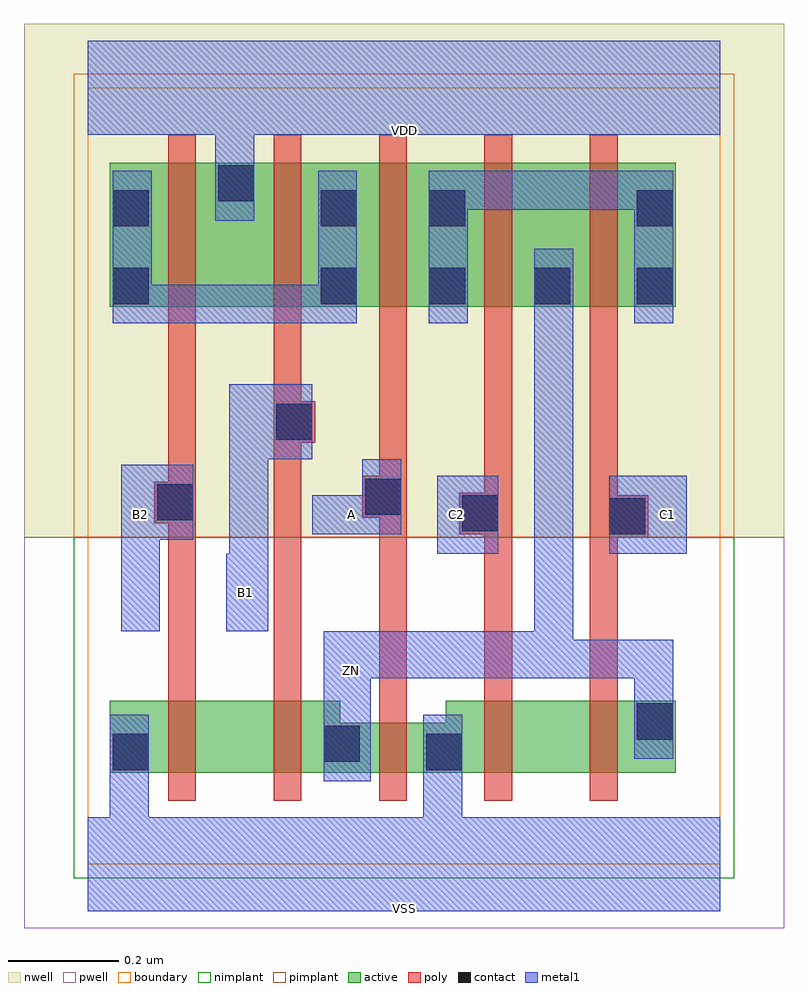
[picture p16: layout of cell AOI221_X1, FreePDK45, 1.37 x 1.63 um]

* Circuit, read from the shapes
.subckt AOI221_X1 A B1 B2 C1 C2 VDD VSS ZN
M1 n1 B2 VSS VSUBS nfet w=0.13u l=0.05u
M2 ZN B1 n1 VSUBS nfet w=0.13u l=0.05u
M3 VSS A ZN VSUBS nfet w=0.09u l=0.05u
M4 n2 C2 VSS VSUBS nfet w=0.13u l=0.05u
M5 ZN C1 n2 VSUBS nfet w=0.13u l=0.05u
M6 VDD B2 n3 n4 pfet w=0.26u l=0.05u
M7 n3 B1 VDD n4 pfet w=0.26u l=0.05u
M8 n5 A n3 n4 pfet w=0.26u l=0.05u
M9 ZN C2 n5 n4 pfet w=0.26u l=0.05u
M10 n5 C1 ZN n4 pfet w=0.26u l=0.05u
.ends

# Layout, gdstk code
import gdstk
lib = gdstk.Library(unit=1e-6, precision=1e-10)
def R(c, l, rs):  # rectangles x0, y0, x1, y1
    for r in rs: c.add(gdstk.rectangle(r[:2], r[2:], *l))
def P(c, l, *ps):  # polygons
    for p in ps: c.add(gdstk.Polygon(p, *l))
active = (1, 0)
pwell = (2, 0)
nwell = (3, 0)
nimplant = (4, 0)
pimplant = (5, 0)
poly = (9, 0)
contact = (10, 0)
metal1 = (11, 0)
boundary = (235, 0)

aoi221_x1 = lib.new_cell('AOI221_X1')
R(aoi221_x1, active, [(0.04,1.005,1.06,1.265)])
P(aoi221_x1, active, [(0.04,0.165),(1.06,0.165),(1.06,0.295),(0.645,0.295),(0.645,0.255),(0.455,0.255),(0.455,0.295),(0.04,0.295)])
R(aoi221_x1, pwell, [(-0.115,-0.115,1.255,0.59)])
R(aoi221_x1, nwell, [(-0.115,0.59,1.255,1.515)])
R(aoi221_x1, nimplant, [(-0.025,-0.025,1.165,0.59)])
R(aoi221_x1, pimplant, [(-0.025,0.59,1.165,1.425)])
P(aoi221_x1, poly, [(0.12,0.615),(0.145,0.615),(0.145,0.115),(0.195,0.115),(0.195,1.315),(0.145,1.315),(0.145,0.69),(0.12,0.69)],
  [(0.335,0.115),(0.385,0.115),(0.385,0.76),(0.41,0.76),(0.41,0.835),(0.385,0.835),(0.385,1.315),(0.335,1.315)],
  [(0.495,0.625),(0.525,0.625),(0.525,0.115),(0.575,0.115),(0.575,1.315),(0.525,1.315),(0.525,0.7),(0.495,0.7)],
  [(0.67,0.595),(0.715,0.595),(0.715,0.115),(0.765,0.115),(0.765,1.315),(0.715,1.315),(0.715,0.67),(0.67,0.67)],
  [(0.905,0.115),(0.955,0.115),(0.955,0.59),(1.01,0.59),(1.01,0.665),(0.955,0.665),(0.955,1.315),(0.905,1.315)])
R(aoi221_x1, contact, [(0.045,0.17,0.11,0.235), (0.61,0.17,0.675,0.235), (0.425,0.185,0.49,0.25), (0.99,0.225,1.055,0.29), (0.94,0.595,1.005,0.66), (0.675,0.6,0.74,0.665), (0.125,0.62,0.19,0.685), (0.5,0.63,0.565,0.695), (0.34,0.765,0.405,0.83), (0.045,1.01,0.11,1.075), (0.42,1.01,0.485,1.075), (0.615,1.01,0.68,1.075), (0.805,1.01,0.87,1.075), (0.99,1.01,1.055,1.075), (0.045,1.15,0.11,1.215), (0.42,1.15,0.485,1.215), (0.615,1.15,0.68,1.215), (0.99,1.15,1.055,1.215), (0.235,1.195,0.3,1.26)])
R(aoi221_x1, metal1, [(0.63,0.56,0.74,0.7), (0.94,0.56,1.08,0.7)])
P(aoi221_x1, metal1, [(0.06,0.42),(0.13,0.42),(0.13,0.585),(0.19,0.585),(0.19,0.72),(0.06,0.72)],
  [(0.25,0.42),(0.325,0.42),(0.325,0.73),(0.405,0.73),(0.405,0.865),(0.255,0.865),(0.255,0.56),(0.25,0.56)],
  [(0.045,0.975),(0.485,0.975),(0.485,1.25),(0.415,1.25),(0.415,1.045),(0.115,1.045),(0.115,1.25),(0.045,1.25)],
  [(0.405,0.595),(0.565,0.595),(0.565,0.73),(0.495,0.73),(0.495,0.665),(0.405,0.665)],
  [(0.425,0.15),(0.51,0.15),(0.51,0.335),(0.985,0.335),(0.985,0.19),(1.055,0.19),(1.055,0.405),(0.875,0.405),(0.875,1.11),(0.805,1.11),(0.805,0.42),(0.425,0.42)],
  [(0.615,0.975),(0.685,0.975),(0.685,1.18),(0.985,1.18),(0.985,0.975),(1.055,0.975),(1.055,1.25),(0.615,1.25)],
  [(0,-0.085),(1.14,-0.085),(1.14,0.085),(0.675,0.085),(0.675,0.27),(0.605,0.27),(0.605,0.085),(0.11,0.085),(0.11,0.27),(0.04,0.27),(0.04,0.085),(0,0.085)],
  [(0,1.315),(0.23,1.315),(0.23,1.16),(0.3,1.16),(0.3,1.315),(1.14,1.315),(1.14,1.485),(0,1.485)])
R(aoi221_x1, boundary, [(0,0,1.14,1.4)])
aoi221_x1.add(gdstk.Label('A', (0.475,0.63), layer=11, texttype=0))
aoi221_x1.add(gdstk.Label('B1', (0.285,0.49), layer=11, texttype=0))
aoi221_x1.add(gdstk.Label('B2', (0.095,0.63), layer=11, texttype=0))
aoi221_x1.add(gdstk.Label('C1', (1.045,0.63), layer=11, texttype=0))
aoi221_x1.add(gdstk.Label('C2', (0.665,0.63), layer=11, texttype=0))
aoi221_x1.add(gdstk.Label('VDD', (0.57,1.3225), layer=11, texttype=0))
aoi221_x1.add(gdstk.Label('VSS', (0.57,-0.08), layer=11, texttype=0))
aoi221_x1.add(gdstk.Label('ZN', (0.475,0.35), layer=11, texttype=0))

lib.write_gds('AOI221_X1.gds')
